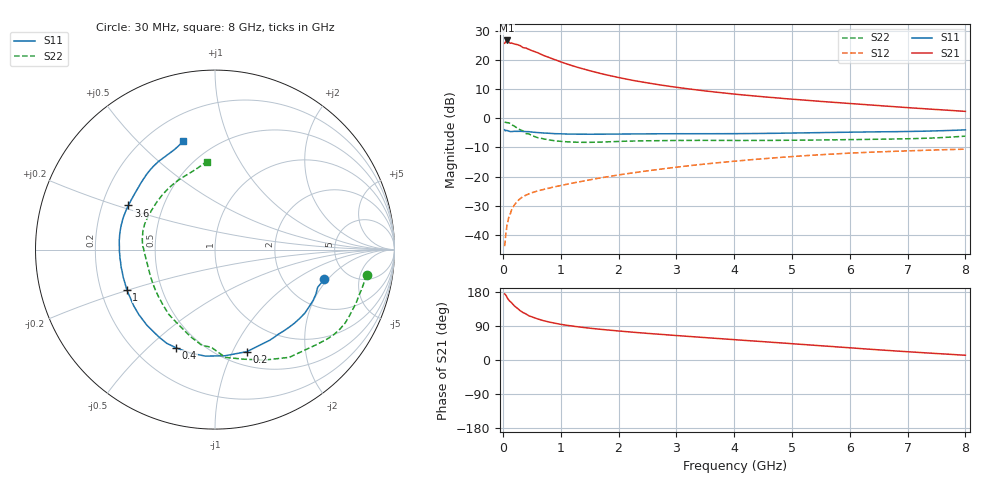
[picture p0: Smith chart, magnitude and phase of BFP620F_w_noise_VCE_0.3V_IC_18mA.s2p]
! Infineon Technologies  Discrete & RF Semiconductors
! BFP620F
! VCE =  0.3 V,  IC =  18 mA
! Common Emitter S-Parameters:  Dec 2014
# GHz  S  MA  R  50
!  f  S11  S21  S12  S22
! GHz  MAG  ANG  MAG  ANG  MAG  ANG  MAG  ANG
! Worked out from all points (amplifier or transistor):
!   95 points, 30 MHz to 8 GHz, reference 50 ohm
!   highest |S21| = 26.6 dB at 70 MHz (marker M1)
!   |S21| within 3 dB of that: start of sweep to 444.5 MHz
!   unconditionally stable (mu >= 1): 2.456 GHz to end of sweep
!   at 300 MHz: K = 0.26, MSG = 26.2 dB, |S12| = -27.6 dB
!   at 3.3 GHz: K = 1.03, MAG = 11.8 dB, |S12| = -16.1 dB
!   at 8 GHz: K = 1.10, MAG = 4.6 dB, |S12| = -10.6 dB
!   lowest NFmin = 0.78 dB at 450 MHz
!   S11 on the Smith chart (normalised r, x): 30 MHz: 3.33, -1.84; 200 MHz: 0.64, -1.14; 400 MHz: 0.37, -0.61; 1 GHz: 0.31, -0.20; 3.6 GHz: 0.31, +0.22; 8 GHz: 0.34, +0.69
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0.03  0.631 -15.3  19.29 174.4  0.0064 76.1  0.8557 -9.4
0.06  0.6158 -27.3  21.24 169.0  0.0117 77.4  0.8415 -17.6
0.07  0.6134 -31.4  21.49 165.9  0.0146 73.8  0.8407 -20.5
0.09  0.6079 -39.1  20.93 160.7  0.0174 73.3  0.8348 -26.3
0.12  0.5932 -49.9  19.43 155.2  0.0225 68.2  0.8135 -35.7
0.15  0.5898 -59.0  19.44 151.1  0.0267 65.8  0.7725 -43.5
0.2  0.5956 -72.7  18.66 142.6  0.0326 60.5  0.7292 -55.4
0.3  0.5959 -95.2  17.49 130.0  0.0418 53.2  0.6319 -75.1
0.35  0.5923 -103.9  16.17 125.1  0.0453 51.4  0.6033 -84.5
0.4  0.5884 -111.6  15.91 121.5  0.048 49.1  0.5445 -92.2
0.45  0.5872 -117.3  15.13 116.6  0.0504 48.0  0.5382 -97.8
0.5  0.578 -123.1  14.39 114.0  0.0527 47.2  0.5039 -105.7
0.7  0.5578 -139.5  11.94 103.9  0.06 45.4  0.4434 -125.5
1  0.54 -155.6  9.248 94.2  0.0701 46.0  0.401 -146.1
1.4  0.5321 -169.4  6.949 85.7  0.0838 47.5  0.3854 -164.6
2  0.5339 176.7  4.984 76.6  0.1066 48.1  0.3986 178.8
2.7  0.54 165.2  3.742 68.0  0.1326 46.6  0.4114 168.5
3.6  0.5414 153.0  2.856 58.0  0.1676 42.7  0.4164 158.3
4.1  0.5438 147.0  2.534 52.6  0.1865 39.7  0.415 152.4
5.4  0.5641 133.4  1.974 38.7  0.2332 30.6  0.4226 134.8
6.7  0.586 119.8  1.592 24.8  0.2687 20.2  0.4387 116.3
8  0.6309 106.2  1.308 12.5  0.2942 10.3  0.492 95.5
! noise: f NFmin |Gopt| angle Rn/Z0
0.45  0.78  0.08  6  0.21
0.9  0.84  0.08  15  0.18
1.5  0.89  0.08  16  0.14
1.8  0.91  0.07  17  0.13
1.9  0.92  0.04  34  0.15
2.4  0.96  0.03  60  0.14
3.5  1.04  0.03  133  0.14
5.5  1.18  0.13  224  0.09
6  1.21  0.13  245  0.13
